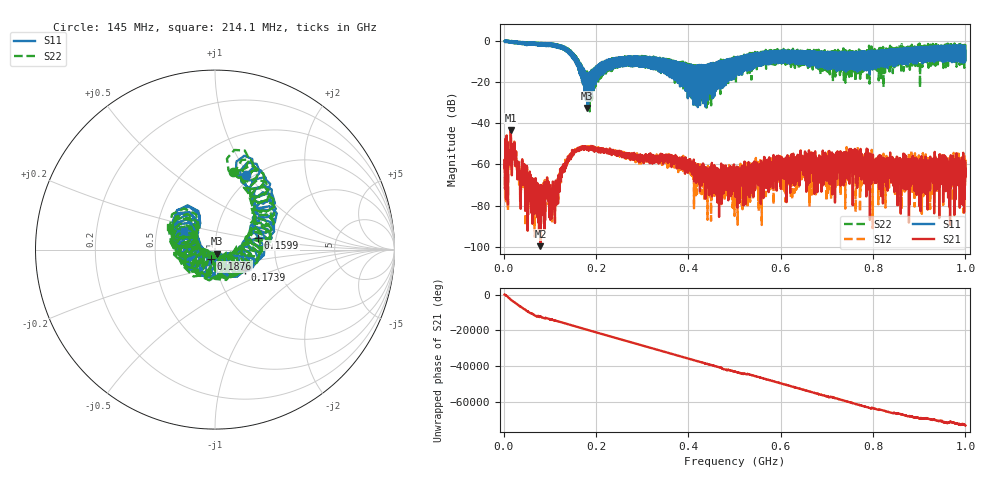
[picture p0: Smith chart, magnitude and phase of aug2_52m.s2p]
!Keysight Technologies N9923A: A.12.45
!Date: Saturday, 02 August 2025 20:06:36
!Timezone: (UTC+08:00) Kuala Lumpur, Singapore
!Model: N9923A
!Serial: MY61181427
!GPS Latitude:
!GPS Longitude:
!GPS TimeStamp: 0001-01-01 00:00:00Z
!GPS Seconds Since Last Read: 0
!CHECKSUM:1393280592
!Correction: S11(ON U)S21(ON U)S12(ON U)S22(ON U)
!S2P File: Measurements:S11,S21,S12,S22:
# Hz S DB R 50
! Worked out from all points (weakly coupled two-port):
!   4001 points, 2 MHz to 1 GHz, reference 50 ohm
!   highest |S21| = -43.20 dB at 15.47 MHz (marker M1); lowest = -99.6 dB at 79.59 MHz (marker M2)
!   lowest |S11| = -32.5 dB at 181.1 MHz (marker M3), VSWR 1.05, Z = 50.8 - j2.22 ohm
!   |S11| at or under -10 dB: 162.4 MHz to 218.5 MHz (56.1 MHz wide, 29.5 % of centre); 369.5 MHz to 466.3 MHz (96.78 MHz wide, 23.2 % of centre); 466.3 MHz to 471.3 MHz (4.978 MHz wide, 1.06 % of centre) (the widest 3 of 363)
!   |S22| runs from -34.2 to 0.2 dB; largest |S21 - S12| = 0.0028
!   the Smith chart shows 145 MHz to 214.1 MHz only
!   S11 on the Smith chart (normalised r, x): 145 MHz: 0.92, +0.97; 159.9 MHz: 1.61, +0.23; 173.9 MHz: 1.36, -0.33; 187.6 MHz: 0.95, -0.10; 214.1 MHz: 0.69, +0.15
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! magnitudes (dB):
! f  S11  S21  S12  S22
! 2 MHz  -0.1  -61.7  -61.8  -0.1
! 15.47 MHz  -0.5  -43.2  -44.6  -0.6
! 23.71 MHz  -0.4  -51.8  -51.3  -0.5
! 33.44 MHz  -0.5  -64.0  -69.8  -0.5
! 79.59 MHz  -2.4  -99.6  -71.8  -2.1
! 92.57 MHz  -1.9  -68.9  -70.0  -1.4
! 108.5 MHz  -2.0  -77.1  -75.4  -2.2
! 145 MHz  -6.9  -57.5  -56.3  -7.0
! 159.9 MHz  -12.1  -53.1  -53.4  -11.9
! 168.4 MHz  -14.9  -51.8  -51.3  -16.2
! 173.9 MHz  -13.8  -52.3  -52.1  -14.0
! 181.1 MHz  -32.5  -52.0  -52.3  -19.5
! 187.6 MHz  -24.9  -52.4  -51.6  -18.6
! 214.1 MHz  -13.9  -53.0  -54.1  -11.0
! 334.8 MHz  -12.4  -56.3  -57.8  -8.7
! 415.4 MHz  -31.2  -60.1  -63.5  -13.7
! 467.8 MHz  -10.5  -65.2  -63.2  -18.5
! 501 MHz  -11.3  -64.9  -71.6  -12.5
! 667.4 MHz  -5.5  -60.6  -62.4  -9.4
! 833.8 MHz  -5.1  -58.5  -59.8  -5.0
! 897.7 MHz  -3.7  -61.3  -64.2  -2.1
! 1 GHz  -4.9  -58.9  -63.9  -1.8
